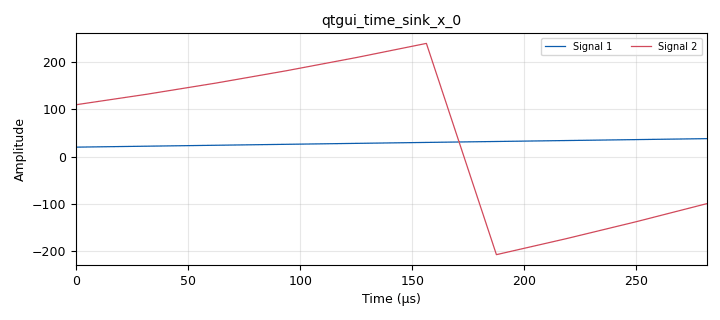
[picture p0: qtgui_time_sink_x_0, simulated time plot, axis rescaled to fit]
options:
  parameters:
    generate_options: qt_gui
    id: Implementacion_Bloque_Diferenciador
    output_language: python
    title: Not titled yet
  states: {}

blocks:
- name: samp_rate
  id: variable
  parameters:
    value: '32000'
  states: {}
- name: blocks_vector_source_x_0
  id: blocks_vector_source_x
  parameters:
    repeat: 'False'
    type: float
    vector: (0, 2, 4, 6, 8, 10, 12, 14, 16, 18, 20, 22, 24, 26, 28, 30, 32, 34, 36, 38)
  states: {}
- name: epy_block_0
  id: epy_block
  parameters:
    _source_code: |-
      import numpy as np
      from gnuradio import gr

      class blk(gr.sync_block):

          def __init__(self):  # only default arguments here
              gr.sync_block.__init__(
                  self,
                  name='e_Diff',  # will show up in GRC
                  in_sig=[np.float32],
                  out_sig=[np.float32]
              )

              self.acum_anterior = 0

          def work(self, input_items, output_items):
              x = input_items[0]  # Señal de entrada.
              y0 = output_items[0]  # Señal acumulada diferencial

              N = len(x)
              diff = np.cumsum(x) - self.acum_anterior
              self.acum_anterior = diff[N-1]
              y0[:] = diff
              return len(y0)
  states: {}
- name: qtgui_time_sink_x_0
  id: qtgui_time_sink_x
  parameters:
    grid: 'True'
    nconnections: '2'
    size: '10'
    srate: samp_rate
    type: float
  states: {}

connections:
- [blocks_vector_source_x_0, '0', epy_block_0, '0']
- [blocks_vector_source_x_0, '0', qtgui_time_sink_x_0, '0']
- [epy_block_0, '0', qtgui_time_sink_x_0, '1']

metadata:
  file_format: 1
  grc_version: 3.10.12.0
